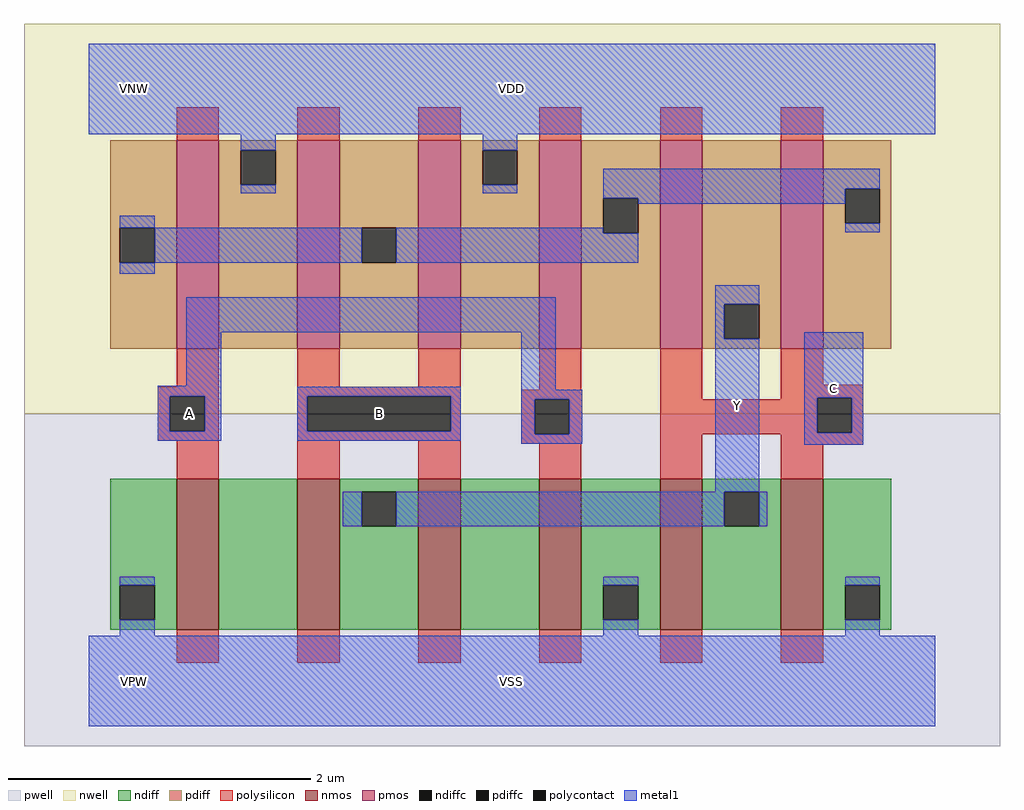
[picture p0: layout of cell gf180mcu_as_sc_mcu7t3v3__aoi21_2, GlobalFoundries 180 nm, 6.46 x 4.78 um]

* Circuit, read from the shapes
.subckt gf180mcu_as_sc_mcu7t3v3__aoi21_2 VDD VNW VPW VSS Y C B A
XM1 n1 A VSS VPW nfet_03v3 w=1u l=0.28u
XM2 Y B n1 VPW nfet_03v3 w=1u l=0.28u
XM3 n2 B Y VPW nfet_03v3 w=1u l=0.28u
XM4 VSS A n2 VPW nfet_03v3 w=1u l=0.28u
XM5 Y C VSS VPW nfet_03v3 w=1u l=0.28u m=2
XM6 VDD A n3 VNW pfet_03v3 w=1.38u l=0.28u m=2
XM7 n3 B VDD VNW pfet_03v3 w=1.38u l=0.28u m=2
XM8 Y C n3 VNW pfet_03v3 w=1.38u l=0.28u m=2
.ends

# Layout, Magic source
magic
tech gf180mcuD
magscale 1 10
<< nwell >>
rect -86 354 1206 870
<< pwell >>
rect -86 -86 1206 354
<< nmos >>
rect 116 68 172 268
rect 276 68 332 268
rect 436 68 492 268
rect 596 68 652 268
rect 756 68 812 268
rect 916 68 972 268
<< pmos >>
rect 116 440 172 716
rect 276 440 332 716
rect 436 440 492 716
rect 596 440 652 716
rect 756 440 812 716
rect 916 440 972 716
<< ndiff >>
rect 28 127 116 268
rect 28 81 41 127
rect 87 81 116 127
rect 28 68 116 81
rect 172 68 276 268
rect 332 251 436 268
rect 332 205 361 251
rect 407 205 436 251
rect 332 68 436 205
rect 492 68 596 268
rect 652 127 756 268
rect 652 81 681 127
rect 727 81 756 127
rect 652 68 756 81
rect 812 251 916 268
rect 812 205 841 251
rect 887 205 916 251
rect 812 68 916 205
rect 972 127 1062 268
rect 972 81 1001 127
rect 1047 81 1062 127
rect 972 68 1062 81
<< pdiff >>
rect 28 600 116 716
rect 28 554 41 600
rect 87 554 116 600
rect 28 440 116 554
rect 172 703 276 716
rect 172 657 201 703
rect 247 657 276 703
rect 172 440 276 657
rect 332 600 436 716
rect 332 554 361 600
rect 407 554 436 600
rect 332 440 436 554
rect 492 703 596 716
rect 492 657 521 703
rect 567 657 596 703
rect 492 440 596 657
rect 652 639 756 716
rect 652 593 681 639
rect 727 593 756 639
rect 652 440 756 593
rect 812 499 916 716
rect 812 453 841 499
rect 887 453 916 499
rect 812 440 916 453
rect 972 652 1062 716
rect 972 606 1001 652
rect 1047 606 1062 652
rect 972 440 1062 606
<< ndiffc >>
rect 41 81 87 127
rect 361 205 407 251
rect 681 81 727 127
rect 841 205 887 251
rect 1001 81 1047 127
<< pdiffc >>
rect 41 554 87 600
rect 201 657 247 703
rect 361 554 407 600
rect 521 657 567 703
rect 681 593 727 639
rect 841 453 887 499
rect 1001 606 1047 652
<< polysilicon >>
rect 116 716 172 760
rect 276 716 332 760
rect 436 716 492 760
rect 596 716 652 760
rect 756 716 812 760
rect 916 716 972 760
rect 116 390 172 440
rect 91 377 172 390
rect 91 331 107 377
rect 153 331 172 377
rect 91 318 172 331
rect 116 268 172 318
rect 276 390 332 440
rect 436 390 492 440
rect 276 377 492 390
rect 596 386 652 440
rect 276 331 289 377
rect 479 331 492 377
rect 276 318 492 331
rect 276 268 332 318
rect 436 268 492 318
rect 572 373 653 386
rect 572 327 590 373
rect 636 327 653 373
rect 572 314 653 327
rect 756 373 812 440
rect 916 392 972 440
rect 916 375 1025 392
rect 916 373 964 375
rect 756 329 964 373
rect 1010 329 1025 375
rect 756 327 1025 329
rect 596 268 652 314
rect 756 268 812 327
rect 916 313 1025 327
rect 916 268 972 313
rect 116 24 172 68
rect 276 24 332 68
rect 436 24 492 68
rect 596 24 652 68
rect 756 24 812 68
rect 916 24 972 68
<< polycontact >>
rect 107 331 153 377
rect 289 331 479 377
rect 590 327 636 373
rect 964 329 1010 375
<< metal1 >>
rect 0 724 1120 844
rect 201 703 247 724
rect 201 646 247 657
rect 521 703 567 724
rect 521 646 567 657
rect 681 652 1047 678
rect 681 639 1001 652
rect 41 600 87 616
rect 87 554 361 600
rect 407 593 681 600
rect 727 632 1001 639
rect 1001 594 1047 606
rect 407 554 727 593
rect 41 539 87 554
rect 129 462 618 508
rect 129 391 175 462
rect 91 377 175 391
rect 91 331 107 377
rect 153 331 175 377
rect 91 318 175 331
rect 276 377 492 390
rect 276 331 289 377
rect 479 331 492 377
rect 276 318 492 331
rect 572 386 618 462
rect 829 499 887 524
rect 829 453 841 499
rect 572 373 653 386
rect 572 327 590 373
rect 636 327 653 373
rect 572 314 653 327
rect 829 251 887 453
rect 947 375 1025 462
rect 947 329 964 375
rect 1010 329 1025 375
rect 947 313 1025 329
rect 336 205 361 251
rect 407 205 841 251
rect 887 205 898 251
rect 41 127 87 138
rect 41 60 87 81
rect 681 127 727 138
rect 681 60 727 81
rect 1001 127 1047 138
rect 1001 60 1047 81
rect 0 -60 1120 60
<< labels >>
flabel metal1 s 0 724 1120 844 0 FreeSans 400 0 0 0 VDD
port 1 nsew power bidirectional abutment
flabel metal1 s 0 -60 1120 60 0 FreeSans 400 0 0 0 VSS
port 4 nsew ground bidirectional abutment
flabel nwell s 10 734 110 834 0 FreeSans 400 0 0 0 VNW
port 2 nsew power bidirectional
flabel pwell s 10 -50 110 50 0 FreeSans 400 0 0 0 VPW
port 3 nsew ground bidirectional
flabel metal1 829 205 887 524 0 FreeSans 200 0 0 0 Y
port 5 nsew signal output
flabel metal1 947 313 1025 462 0 FreeSans 200 0 0 0 C
port 6 nsew signal input
flabel metal1 276 318 492 390 0 FreeSans 200 0 0 0 B
port 7 nsew signal input
flabel metal1 91 318 175 391 0 FreeSans 200 0 0 0 A
port 8 nsew signal input
<< properties >>
string FIXED_BBOX 0 0 1120 784
string LEFclass CORE
string LEFsite unithd
string LEFsymmetry X Y
string MASKHINTS_NPLUS -16 -46 1136 354
string MASKHINTS_PPLUS -16 354 1136 830
<< end >>
